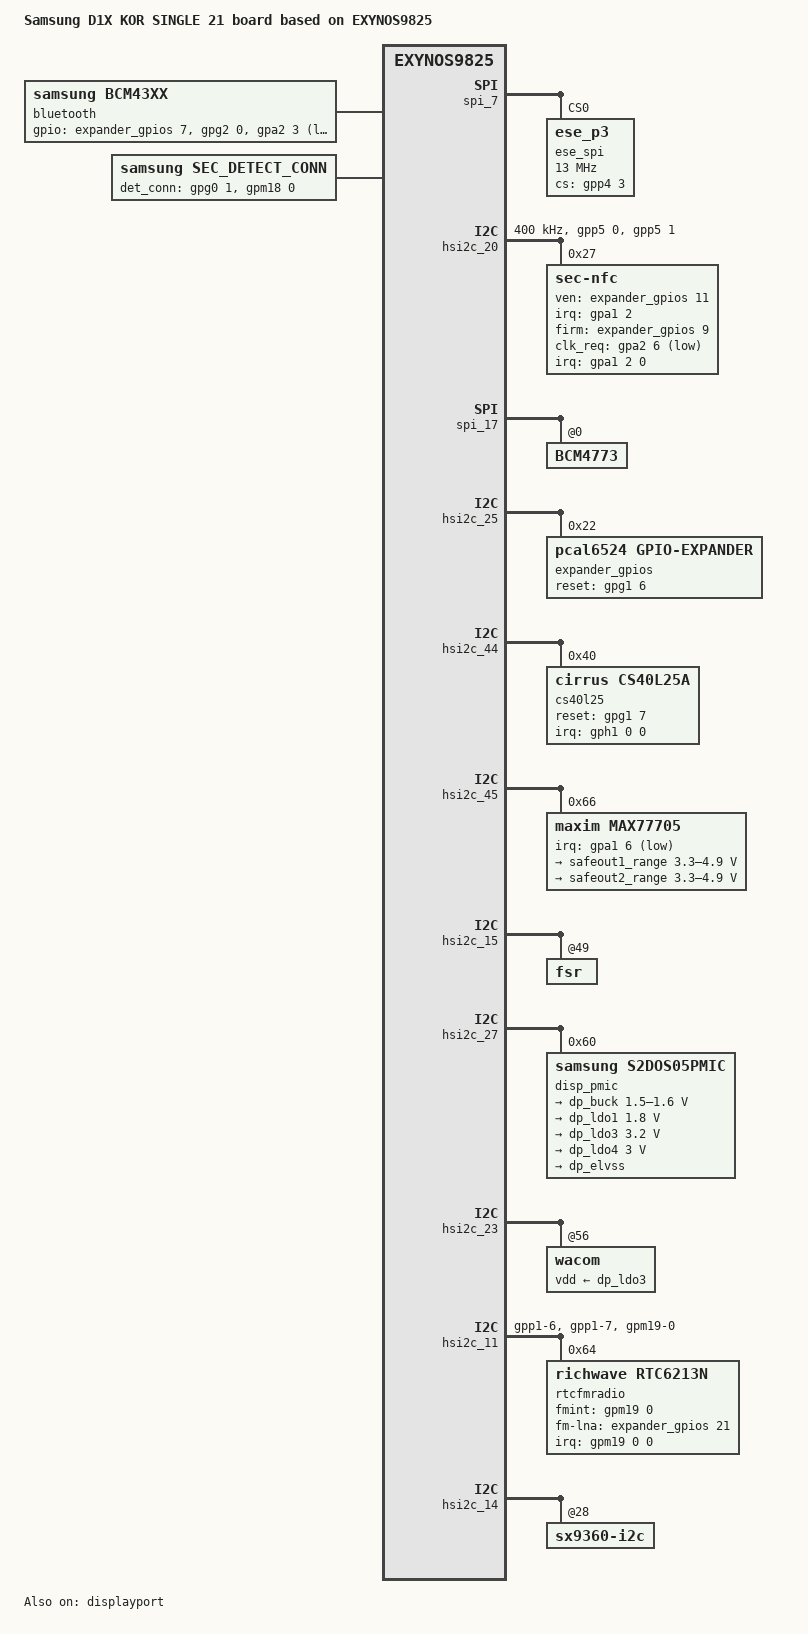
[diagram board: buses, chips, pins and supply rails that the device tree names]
/*
 * SAMSUNG EXYNOS9820 board device tree source
 *
 * Copyright (c) 2018 Samsung Electronics Co., Ltd.
 *		http://www.samsung.com
 *
 * This program is free software; you can redistribute it and/or modify
 * it under the terms of the GNU General Public License version 2 as
 * published by the Free Software Foundation.
*/

/dts-v1/;
/plugin/;
#include "exynos9820-sensorhub_2.dtsi"
#include "exynos9820-display-lcd.dtsi"
#include "battery_data_d1x_18.dtsi"
#include "exynos9820-d2x_if-pmic-max77705.dtsi"
#include <dt-bindings/clock/exynos9820.h>
#include <dt-bindings/pci/pci.h>
#include "exynos9820-d1_camera.dtsi"
#include "exynos9820-d1x_common.dtsi"
#include "exynos9820-d1x_fingerprint_19.dtsi"
#include "exynos9820-d1x_kor_gpio_19.dtsi"
#include "exynos9820-d1x_optics-r19.dtsi"
#include "exynos9820-d2x_mst.dtsi"
#include "exynos9820-mali_rev2.dtsi"

/ {
	compatible = "samsung,D1X KOR SINGLE 21", "samsung,EXYNOS9825";
	dtbo-hw_rev = <21>;
	dtbo-hw_rev_end = <21>;
	edtbo-rev = <0>;

	fragment@model {
		target-path = "/";
		__overlay__ {
			#address-cells = <2>;
			#size-cells = <1>;

			model = "Samsung D1X KOR SINGLE 21 board based on EXYNOS9825";

			bluetooth {
				compatible = "samsung,bcm43xx";
				gpios = <&expander_gpios 7 0    /*BT_EN*/
				&gpg2 0 0    /*BT_WAKE*/
				&gpa2 3 0xF    /*BT_HOST_WAKE*/ >;
				pinctrl-names = "default";
				pinctrl-0=<&bt_hostwake &bt_btwake>;
				status = "okay";
			};
			
			sec_detect_conn {
				compatible = "samsung,sec_detect_conn";
				sec,det_conn_gpios = <&gpg0 1 0             /* SUB_DET */
									  &gpm18 0 0>;           /* CAM_CON_DET */
				sec,det_conn_name = "SUB_CONNECT", "CAM_CONNECT";

				sec,det_conn_irq_type = <3>, /* SUB_DET BOTH EDGE*/
										<3>; /* CAM_CON_DET BOTH EDGE*/

				pinctrl-names = "default";
				pinctrl-0 = <&sub_detect_conn_setting &cam_detect_conn_setting>;
			};
		}; /* end of __overlay__ */
	}; /* end of fragment */
}; /* end of root */

&pinctrl_6 {
	spi7_bus_suspend: spi7-bus-suspend {
		samsung,pins = "gpp4-2", "gpp4-1", "gpp4-0";
		samsung,pin-function = <0>;	/* INPUT */
		samsung,pin-pud = <1>;		/* DOWN */
		samsung,pin-drv = <0>;
	};
	spi7_cs_suspend: spi7-cs-suspend {
		samsung,pins = "gpp4-3";
		samsung,pin-function = <0>;	/* INPUT */
		samsung,pin-pud = <1>;		/* DOWN */
		samsung,pin-drv = <0>;
	};
};

/* SPI USI_PERIC1_USI06_SPI */
&spi_7 {
	status = "okay";
	/delete-property/ pinctrl-names;
	/delete-property/ pinctrl-0;
	pinctrl-names = "ese_active", "ese_suspend";
	pinctrl-0 = <&spi7_bus &spi7_cs>;
	pinctrl-1 = <&spi7_bus_suspend &spi7_cs_suspend>;

	ese_spi@0 {
		compatible = "ese_p3";
		reg = <0>;
		spi-max-frequency = <13000000>;
		gpio-controller;
		#gpio-cells = <2>;

		p3-vdd-1p8= "VDD_ESE_1P8";

		clocks = <&clock GATE_USI06_USI>, <&clock DOUT_CLK_PERIC1_USI06_USI>;
		clock-names = "pclk", "sclk";
		ese_p3,cs-gpio = <&gpp4 3 0>;

		controller-data {
			samsung,spi-feedback-delay = <0>;
			samsung,spi-chip-select-mode = <0>;
		};
	};
};

&hsi2c_20 {
	gpios = <&gpp5 0 0 &gpp5 1 0>;
	status = "okay";
	clock-frequency = <400000>;

	sec-nfc@27 {
		compatible = "sec-nfc";
		reg = <0x27>;

		interrupts = <2 0 0>;
		interrupt-parent = <&gpa1>;

		sec-nfc,ven-gpio = <&expander_gpios 11 0>;
		sec-nfc,irq-gpio = <&gpa1 2 0>;
		sec-nfc,firm-gpio = <&expander_gpios 9 0>;
		sec-nfc,clk_req-gpio = <&gpa2 6 0xf>;
		sec-nfc,clk_use = <2>;
		sec-nfc,nfc_pvdd = "VDD_NFC_1P8";

		clocks = <&clock OSC_NFC>;
		clock-names = "oscclk_nfc";
		sec-nfc,nfc_ap_clk;
		sec-nfc,ldo_control;
	};
};

&spi_17 {
	BCM4773@0 {
		ssp-acc-position = <6>;
		ssp-mag-position = <4>;
		ssp-mag-array = /bits/ 8 <197 84 84 28 106 136 255 106 214 53 190 102 165 102 5 89 254 172 207 
					68 181 1 167 117 14 81 183>;
		ssp-thermi-up = /bits/ 16 <2995 2964 2926 2883 2822 2750 2670 2564 2450 2320 2178 2020 1860 1700
					1540 1377 1218 1079 999 834 753 647 566>;
		ssp-thermi-sub = /bits/ 16 <2986 2953 2918 2873 2810 2741 2656 2552 2441 2312 2171 2015 1857 1698
					1537 1377 1217 1083 1003 845 758 654 575>;
	};
};

&pinctrl_5 {
	gpio_expander_rst: gpio_expander_rst {
		samsung,pins = "gpg1-6";
		samsung,pin-function = <1>;
		samsung,pin-pud = <0>;
		samsung,pin-val = <1>;
	};
};

&hsi2c_25 {
	status = "okay";
	expander_gpios: pcal6524@22 {
		compatible = "pcal6524,gpio-expander";
		gpio-controller;
		#gpio-cells = <2>;
		reg = <0x22>;
		pinctrl-names = "default";
		pinctrl-0 = <&gpio_expander_rst>;
		pcal6524,gpio_start = <300>;
		pcal6524,ngpio = <24>;
		pcal6524,reset-gpio = <&gpg1 6 0>;
		pcal6524,support_initialize = <1>;
		/* config, 24 ~ 0, 1bit configure[1:input, 0:output]*/
		pcal6524,config = <0xDAF5FF>;    /* P2[11011010] P1[11110101] P0[11111111] */
		/* data_out, 24 ~ 0, 1bit configure[1:high, 0:low]*/
		pcal6524,data_out = <0x000800>;  /* P2[00000000] P1[00001000] P0[00000000] */
		/* pull_reg, 8 ~ 0, 2bit configure[00:no_pull, 01:pull_down, 10:pull_up, 11:not used] */
		pcal6524,pull_reg_p0 = <0x0000>; /* 00 00 00 00 / 00 00 00 00 */
		pcal6524,pull_reg_p1 = <0x0000>; /* 00 00 00 00 / 00 00 00 00 */
		pcal6524,pull_reg_p2 = <0x0400>; /* 00 00 01 00 / 00 00 00 00 */
	};
};

&pinctrl_6 {
	motor_int: motor-int {
		samsung,pins ="gph1-0";
		samsung,pin-function = <0xf>;
		samsung,pin-pud = <0>;
		samsung,pin-con-pdn = <3>;
		samsung,pin-pud-pdn = <0>;
	};
};

&hsi2c_44 {
	status = "okay";
	cs40l25@40 {
		compatible = "cirrus,cs40l25a";
		reg = <0x40>;
		pinctrl-names = "default";
		pinctrl-0 = <&motor_boost_en &motor_int>;
		interrupt-parent = <&gph1>;
		interrupts = <0 0 0>;
		reset-gpios = <&gpg1 7 0>;
		samsung,vib_type = "LINEAR_INDEX";
		cirrus,gpio-indv-enable = <0x9>;
		cirrus,gpio-indv-pol = <0x9>;
		cirrus,boost-ind-nanohenry = <1000>;
		cirrus,boost-cap-microfarad = <4>;
		cirrus,boost-ipk-milliamp = <4000>;
		cirrus,refclk-gpio2;
		cirrus,amp-gnd-stby;
		cirrus,auto-recovery;
	};
};

&hsi2c_45 {
	#address-cells = <1>;
	#size-cells = <0>;
	status = "okay";
	/delete-node/ max77705@66;
	max77705@66 {
		compatible = "maxim,max77705";
		pinctrl-names = "default";
		pinctrl-0 = <&max77705_irq>;
		reg = <0x66>;
		max77705,irq-gpio = <&gpa1 6 1>;
		max77705,wakeup;
		max77705,fw_product_id = <0x03>;
		support_pd_role_swap;
		max77705,support-audio;

		regulators {
			ESAFEOUT1 {
				regulator-compatible = "safeout1";
				regulator-name = "safeout1_range";
				regulator-min-microvolt = <3300000>;
				regulator-max-microvolt = <4900000>;
				regulator-boot-on;
			};

			ESAFEOUT2 {
				regulator-compatible = "safeout2";
				regulator-name = "safeout2_range";
				regulator-min-microvolt = <3300000>;
				regulator-max-microvolt = <4900000>;
			};
		};
	};
};

&hsi2c_15 { /* keyless */
	status = "okay";
	fsr@49 {
		status = "okay";
		pinctrl-names = "default";
		pinctrl-0 = <&keyless_int_default>;
	};
};

&pinctrl_5 {
	aux_oe: aux-oe {
		samsung,pins = "gpp3-0";
		samsung,pin-function = <1>;
		samsung,pin-pud = <0>;
		samsung,pin-con-pdn = <3>;
		samsung,pin-pud-pdn = <0>;
		};
};

&displayport {
	status = "okay";
	dp,aux_sw_oe = <&gpp3 0 0>;
	dp,sbu_sw_sel = <&expander_gpios 22 0>;
	dp,usb_con_sel = <&gpg0 4 0>;
	dp,phy_tuning = <1>;

	pinctrl-names = "default";
	pinctrl-0 = <&aux_oe>;
};

/delete-node/ &disp_pmic;

&hsi2c_27 {
	#address-cells = <1>;
	#size-cells = <0>;
	status = "okay";
	disp_pmic: s2dos05_pmic@60 {
		compatible = "samsung,s2dos05pmic";
		reg = <0x60>;
		s2dos05,wakeup;
		pinctrl-names = "default";
		pinctrl-0 = <&dp_pmic_irq>;
		s2dos05,s2dos05_int = <&gpa1 4 0>;
		adc_mode = <2>; /* 0 : disable, 1 : current meter, 2 : power meter */
		adc_sync_mode = <2>; /* 1 : sync mode, 2 : async mode */
		regulators {
			dp_buck: s2dos05-buck1 {
				regulator-name = "vdd1";
				regulator-min-microvolt = <1500000>;
				regulator-max-microvolt = <1600000>;
				regulator-boot-on;
			};
			dp_ldo1: s2dos05-ldo1 {
				regulator-name = "vdd2";
				regulator-min-microvolt = <1800000>;
				regulator-max-microvolt = <1800000>;
				regulator-boot-on;
			};
			dp_ldo3: s2dos05-ldo3 {
				regulator-name = "vdd4";
				regulator-min-microvolt = <3200000>;
				regulator-max-microvolt = <3200000>;
			};
			dp_ldo4: s2dos05-ldo4{
				regulator-name = "vdd5";
				regulator-min-microvolt = <3000000>;
				regulator-max-microvolt = <3000000>;
				regulator-boot-on;
			};
			dp_elvss: s2dos05-elvss{
				regulator-name = "elvss";
			};
		};
	};
};

&hsi2c_23 {
	wacom@56 {
		vdd-supply = <&dp_ldo3>;
	};
};

&pinctrl_2 {
	fm_int: fm-int {
		samsung,pins = "gpm19-0";
		samsung,pin-function = <0xf>;
		samsung,pin-pud = <0>;
		samsung,pin-con-pdn =<3>;
		samsung,pin-pud-pdn = <0>;
	};
};

&pinctrl_5 {
	hsi2c11_bus: hsi2c11-bus {
		samsung,pins = "gpp1-6", "gpp1-7";
		samsung,pin-function = <3>;
		samsung,pin-pud = <0>;
		samsung,pin-drv = <0>;
		samsung,pin-pud-pdn = <0>;
	};
};

&hsi2c_11 {
	status = "okay";
	pinctrl-names = "default";
	pinctrl-0 = <&hsi2c11_bus &fm_int>;

	rtcfmradio@64 {
		compatible = "richwave,rtc6213n", "rtc6213n";
		reg = <0x64>;
		interrupts = <0 0 0>;
		interrupt-parent = <&gpm19>;
		fmint-gpio = <&gpm19 0 0>;
		fm-lna-gpio = <&expander_gpios 21 0>;
		volume_db;
		radio_vol = <44 43 39 36 33 30 27 24 21 18 15 12 10 8 6 4>;
	};
};

&speedy {
	s2mps19mfd@00 {
		regulators {
			LDO29M {
				regulator-name = "vdd-fm-2p8";
				regulator-min-microvolt = <2800000>;
				regulator-max-microvolt = <2800000>;
				regulator-always-on;
				regulator-ramp-delay = <12000>;
				regulator-initial-mode = <3>;
			};
		};
	};
};

&hsi2c_14 {
	sx9360-i2c@28 {
		sx9360,proxthresh_mcc = <0x49>; /* threshhold : 2664 */
	};
};
